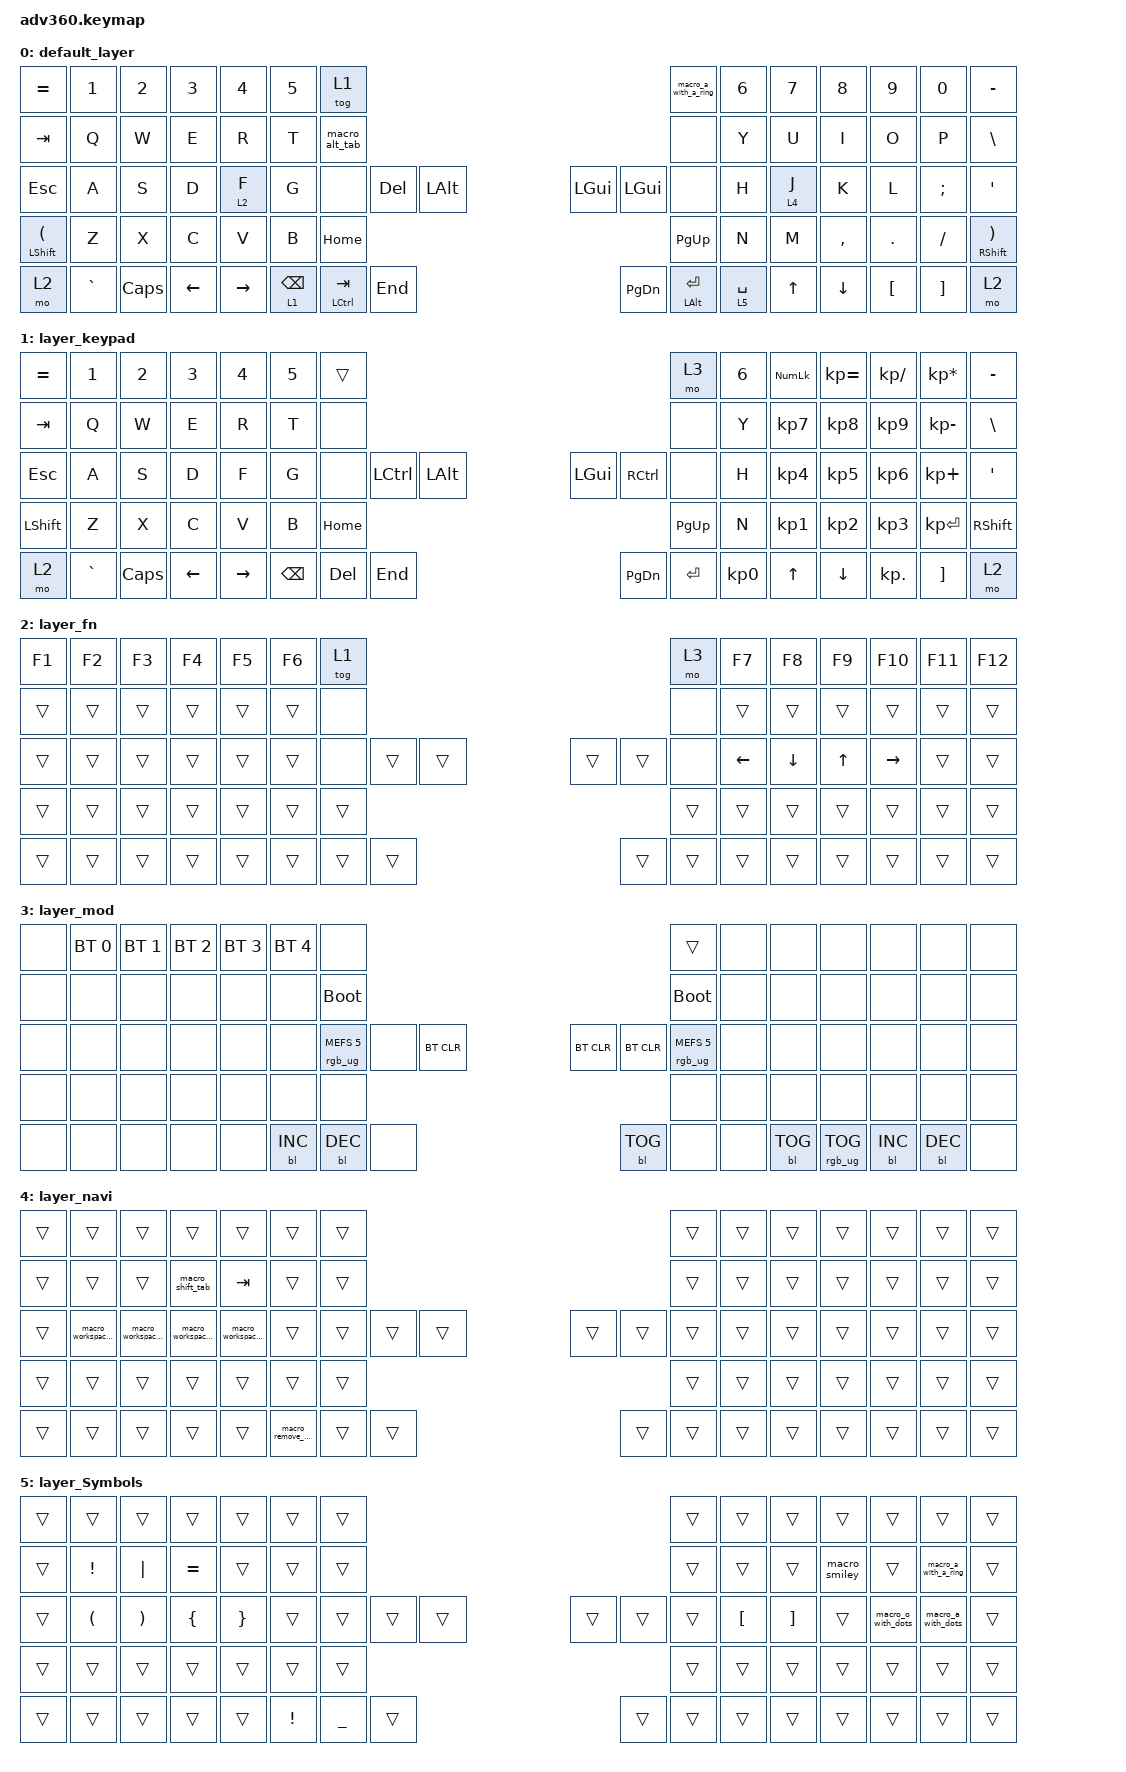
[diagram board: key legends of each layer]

/*
 * Copyright (c) 2020 The ZMK Contributors
 *
 * SPDX-License-Identifier: MIT
 */


/* THIS FILE WAS GENERATED!
 *
 * This file was generated automatically. You may or may not want to
 * edit it directly.
 */

#include <behaviors.dtsi>
#include <dt-bindings/zmk/keys.h>
#include <dt-bindings/zmk/bt.h>
#include <dt-bindings/zmk/rgb.h>
#include <dt-bindings/zmk/backlight.h>

/ {
  behaviors {
    #include "macros.dtsi"

    hm: homerow_mods {
        compatible = "zmk,behavior-hold-tap";
        label = "HOMEROW_MODS";
        #binding-cells = <2>;
        tapping-term-ms = <200>;
        quick_tap_ms = <175>;
        flavor = "tap-preferred";
        bindings = <&kp>, <&kp>;
    };
  };

    keymap {
        compatible = "zmk,keymap";


        default_layer {
            bindings = <
 &kp EQUAL     &kp N1    &kp N2            &kp N3     &kp N4  &kp N5                     &tog 1                                                              &macro_a_with_a_ring  &kp N6   &kp N7             &kp N8           &kp N9    &kp N0  &kp MINUS
   &kp TAB      &kp Q     &kp W             &kp E      &kp R   &kp T             &macro_alt_tab                                                                            &none   &kp Y    &kp U              &kp I            &kp O     &kp P   &kp BSLH
   &kp ESC      &kp A     &kp S             &kp D      &lt 2 F &kp G                      &none     &kp DELETE  &kp LALT                   &kp LGUI       &kp LGUI         &none   &kp H  &lt 4 J              &kp K          &kp L  &kp SEMI    &kp SQT
 &mt LSHFT LEFT_PARENTHESIS &kp Z   &kp X   &kp C      &kp V   &kp B                                            &kp HOME                  &kp PG_UP                                &kp N    &kp M           &kp COMMA          &kp DOT  &kp FSLH  &mt RSHFT RIGHT_PARENTHESIS
     &mo 2  &kp GRAVE  &kp CAPS          &kp LEFT  &kp RIGHT                    &lt 1 BACKSPACE  &mt LCTRL TAB   &kp END                  &kp PG_DN  &mt LALT ENTER  &lt 5 SPACE           &kp UP           &kp DOWN         &kp LBKT  &kp RBKT      &mo 2
            >;
        };

        layer_keypad {
            bindings = <
 &kp EQUAL     &kp N1    &kp N2    &kp N3     &kp N4  &kp N5              &trans                                                                 &mo 3  &kp N6  &kp KP_NUM  &kp KP_EQUAL  &kp KP_DIVIDE  &kp KP_MULTIPLY  &kp MINUS
   &kp TAB      &kp Q     &kp W     &kp E      &kp R   &kp T               &none                                                                 &none   &kp Y   &kp KP_N7     &kp KP_N8      &kp KP_N9     &kp KP_MINUS   &kp BSLH
   &kp ESC      &kp A     &kp S     &kp D      &kp F   &kp G               &none  &kp LCTRL  &kp LALT                   &kp LGUI  &kp RCTRL      &none   &kp H   &kp KP_N4     &kp KP_N5      &kp KP_N6      &kp KP_PLUS    &kp SQT
 &kp LSHFT      &kp Z     &kp X     &kp C      &kp V   &kp B                                 &kp HOME                  &kp PG_UP                         &kp N   &kp KP_N1     &kp KP_N2      &kp KP_N3     &kp KP_ENTER  &kp RSHFT
     &mo 2  &kp GRAVE  &kp CAPS  &kp LEFT  &kp RIGHT                    &kp BSPC    &kp DEL   &kp END                  &kp PG_DN  &kp ENTER  &kp KP_N0              &kp UP      &kp DOWN     &kp KP_DOT         &kp RBKT      &mo 2
            >;
        };

        layer_fn {
            bindings = <
 &kp F1  &kp F2  &kp F3  &kp F4  &kp F5  &kp F6            &tog 1                                                   &mo 3    &kp F7    &kp F8  &kp F9    &kp F10  &kp F11  &kp F12
 &trans  &trans  &trans  &trans  &trans  &trans             &none                                                   &none    &trans    &trans  &trans     &trans   &trans   &trans
 &trans  &trans  &trans  &trans  &trans  &trans             &none  &trans  &trans                  &trans  &trans   &none  &kp LEFT  &kp DOWN  &kp UP  &kp RIGHT   &trans   &trans
 &trans  &trans  &trans  &trans  &trans  &trans                            &trans                  &trans                    &trans    &trans  &trans     &trans   &trans   &trans
 &trans  &trans  &trans  &trans  &trans                    &trans  &trans  &trans                  &trans  &trans  &trans              &trans  &trans     &trans   &trans   &trans
            >;
        };

        layer_mod {
            bindings = <
  &none  &bt BT_SEL 0  &bt BT_SEL 1  &bt BT_SEL 2  &bt BT_SEL 3  &bt BT_SEL 4                             &none                                                                                  &trans   &none       &none            &none       &none       &none   &none
  &none         &none         &none         &none         &none         &none                       &bootloader                                                                             &bootloader   &none       &none            &none       &none       &none   &none
  &none         &none         &none         &none         &none         &none            &rgb_ug RGB_MEFS_CMD 5       &none  &bt BT_CLR                  &bt BT_CLR  &bt BT_CLR  &rgb_ug RGB_MEFS_CMD 5   &none       &none            &none       &none       &none   &none
  &none         &none         &none         &none         &none         &none                                                     &none                       &none                                       &none       &none            &none       &none       &none   &none
  &none         &none         &none         &none         &none                                      &bl BL_INC  &bl BL_DEC       &none                  &bl BL_TOG       &none                   &none          &bl BL_TOG  &rgb_ug RGB_TOG  &bl BL_INC  &bl BL_DEC   &none
            >;
        };

        layer_navi {
            bindings = <
 &trans              &trans              &trans              &trans              &trans  &trans                        &trans                                                  &trans  &trans  &trans  &trans  &trans  &trans  &trans
 &trans              &trans              &trans    &macro_shift_tab             &kp TAB  &trans                        &trans                                                  &trans  &trans  &trans  &trans  &trans  &trans  &trans
 &trans  &macro_workspace_1  &macro_workspace_2  &macro_workspace_3  &macro_workspace_4  &trans                        &trans  &trans  &trans                  &trans  &trans  &trans  &trans  &trans  &trans  &trans  &trans  &trans
 &trans              &trans              &trans              &trans              &trans  &trans                                        &trans                  &trans                  &trans  &trans  &trans  &trans  &trans  &trans
 &trans              &trans              &trans              &trans              &trans                    &macro_remove_word  &trans  &trans                  &trans  &trans  &trans          &trans  &trans  &trans  &trans  &trans
            >;
        };

        layer_Symbols {
            bindings = <
 &trans                &trans                 &trans          &trans           &trans  &trans                     &trans                                                          &trans            &trans             &trans    &trans              &trans  &trans  &trans
 &trans      &kp EXCLAMATION                  &kp PIPE        &kp EQUAL        &trans  &trans                     &trans                                                          &trans            &trans             &trans  &macro_smiley  &trans  &macro_a_with_a_ring  &trans
 &trans  &kp LEFT_PARENTHESIS  &kp RIGHT_PARENTHESIS  &kp LEFT_BRACE  &kp RIGHT_BRACE  &trans                     &trans          &trans  &trans                  &trans  &trans  &trans  &kp LEFT_BRACKET  &kp RIGHT_BRACKET    &trans              &macro_o_with_dots  &macro_a_with_dots  &trans
 &trans                &trans                 &trans          &trans           &trans  &trans                                             &trans                  &trans                            &trans             &trans    &trans              &trans  &trans  &trans
 &trans                &trans                 &trans          &trans           &trans                    &kp EXCLAMATION  &kp UNDERSCORE  &trans                  &trans  &trans  &trans                               &trans    &trans              &trans  &trans  &trans
            >;
        };

    };
};
